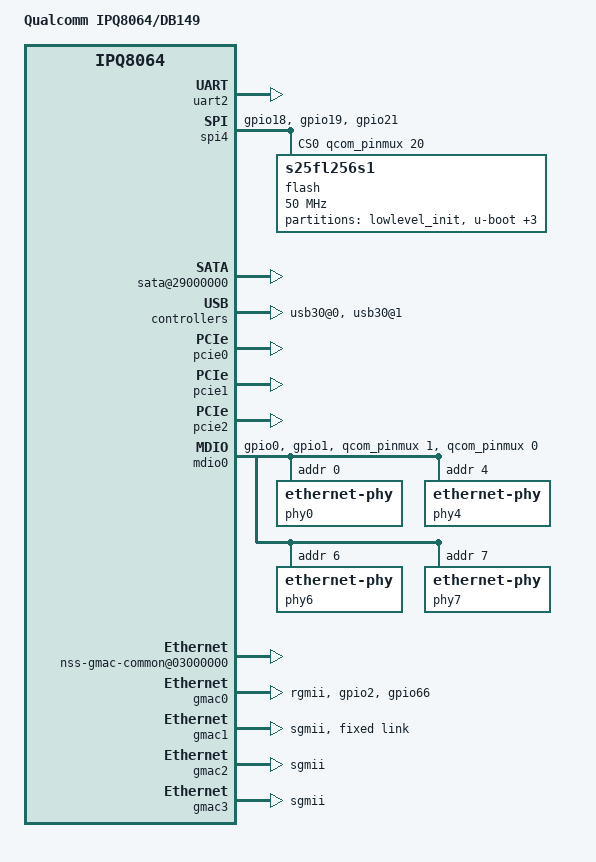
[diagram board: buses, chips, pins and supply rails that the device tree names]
#include "qcom-ipq8064-v1.0.dtsi"

/ {
	model = "Qualcomm IPQ8064/DB149";
	compatible = "qcom,ipq8064-db149", "qcom,ipq8064";

	reserved-memory {
		#address-cells = <1>;
		#size-cells = <1>;
		ranges;
		rsvd@41200000 {
			reg = <0x41200000 0x300000>;
			no-map;
		};
	};

	alias {
		serial0 = &uart2;
		mdio-gpio0 = &mdio0;
	};

	chosen {
		linux,stdout-path = "serial0:115200n8";
	};

	soc {
		pinmux@800000 {
			i2c4_pins: i2c4_pinmux {
				pins = "gpio12", "gpio13";
				function = "gsbi4";
				bias-disable;
			};

			spi_pins: spi_pins {
				mux {
					pins = "gpio18", "gpio19", "gpio21";
					function = "gsbi5";
					drive-strength = <10>;
					bias-none;
				};
			};

			mdio0_pins: mdio0_pins {
				mux {
					pins = "gpio0", "gpio1";
					function = "gpio";
					drive-strength = <8>;
					bias-disable;
				};
			};

			rgmii0_pins: rgmii0_pins {
				mux {
					pins = "gpio2", "gpio66";
					drive-strength = <8>;
					bias-disable;
				};
			};
		};

		gsbi2: gsbi@12480000 {
			qcom,mode = <GSBI_PROT_I2C_UART>;
			status = "ok";
			uart2: serial@12490000 {
				status = "ok";
			};
		};

		gsbi5: gsbi@1a200000 {
			qcom,mode = <GSBI_PROT_SPI>;
			status = "ok";

			spi4: spi@1a280000 {
				status = "ok";
				spi-max-frequency = <50000000>;

				pinctrl-0 = <&spi_pins>;
				pinctrl-names = "default";

				cs-gpios = <&qcom_pinmux 20 0>;

				flash: m25p80@0 {
					compatible = "s25fl256s1";
					#address-cells = <1>;
					#size-cells = <1>;
					spi-max-frequency = <50000000>;
					reg = <0>;
					m25p,fast-read;

					partition@0 {
						label = "lowlevel_init";
						reg = <0x0 0x1b0000>;
					};

					partition@1 {
						label = "u-boot";
						reg = <0x1b0000 0x80000>;
					};

					partition@2 {
						label = "u-boot-env";
						reg = <0x230000 0x40000>;
					};

					partition@3 {
						label = "caldata";
						reg = <0x270000 0x40000>;
					};

					partition@4 {
						label = "firmware";
						reg = <0x2b0000 0x1d50000>;
					};
				};
			};
		};

		sata-phy@1b400000 {
			status = "ok";
		};

		sata@29000000 {
			status = "ok";
		};

		phy@100f8800 {		/* USB3 port 1 HS phy */
			status = "ok";
		};

		phy@100f8830 {		/* USB3 port 1 SS phy */
			status = "ok";
		};

		phy@110f8800 {		/* USB3 port 0 HS phy */
			status = "ok";
		};

		phy@110f8830 {		/* USB3 port 0 SS phy */
			status = "ok";
		};

		usb30@0 {
			status = "ok";
		};

		usb30@1 {
			status = "ok";
		};

		pcie0: pci@1b500000 {
			status = "ok";
		};

		pcie1: pci@1b700000 {
			status = "ok";
		};

		pcie2: pci@1b900000 {
			status = "ok";
		};

		mdio0: mdio {
			compatible = "virtual,mdio-gpio";
			#address-cells = <1>;
			#size-cells = <0>;
			gpios = <&qcom_pinmux 1 0 &qcom_pinmux 0 0>;

			pinctrl-0 = <&mdio0_pins>;
			pinctrl-names = "default";

			phy0: ethernet-phy@0 {
				device_type = "ethernet-phy";
				reg = <0>;
				qca,ar8327-initvals = <
					0x00004 0x7600000   /* PAD0_MODE */
					0x00008 0x1000000   /* PAD5_MODE */
					0x0000c 0x80        /* PAD6_MODE */
					0x000e4 0xaa545     /* MAC_POWER_SEL */
					0x000e0 0xc74164de  /* SGMII_CTRL */
					0x0007c 0x4e        /* PORT0_STATUS */
					0x00094 0x4e        /* PORT6_STATUS */
				>;
			};

			phy4: ethernet-phy@4 {
				device_type = "ethernet-phy";
				reg = <4>;
			};

			phy6: ethernet-phy@6 {
				device_type = "ethernet-phy";
				reg = <6>;
			};

			phy7: ethernet-phy@7 {
				device_type = "ethernet-phy";
				reg = <7>;
			};
		};

		nss0: nss@40000000 {
			compatible = "qcom,nss";
			interrupts = <GIC_SPI 213 IRQ_TYPE_LEVEL_HIGH
				      GIC_SPI 232 IRQ_TYPE_LEVEL_HIGH>;
			reg = <0x36000000 0x1000 0x39000000 0x10000>;
			reg-names = "nphys", "vphys";
			clocks = <&gcc NSS_CORE_CLK>, <&gcc NSSTCM_CLK_SRC>,
				 <&gcc NSSTCM_CLK>, <&nss_fabric0_clk>,
				 <&nss_fabric1_clk>;
			clock-names = "nss-core-clk", "nss-tcm-src",
				      "nss-tcm-clk", "nss-fab0-clk",
				      "nss-fab1-clk";
			resets = <&gcc UBI32_CORE1_CLKRST_CLAMP_RESET>,
				 <&gcc UBI32_CORE1_CLAMP_RESET>,
				 <&gcc UBI32_CORE1_AHB_RESET>,
				 <&gcc UBI32_CORE1_AXI_RESET>;
			reset-names = "clkrst-clamp", "clamp", "ahb", "axi";
			qcom,id = <0>;
			qcom,num-irq = <2>;
			qcom,num-queue = <2>;
			qcom,load-addr = <0x40000000>;

			qcom,turbo-frequency;
			qcom,ipv4-enabled;
			qcom,ipv6-enabled;
			qcom,wlanredirect-enabled;
			qcom,tun6rd-enabled;
			qcom,l2tpv2-enabled;
			qcom,portid-enabled;
			qcom,pptp-enabled;
			qcom,tunipip6-enabled;
			qcom,shaping-enabled;
			qcom,wlan-dataplane-offload-enabled;
		};

		nss1: nss@40800000 {
			compatible = "qcom,nss";
			interrupts = <GIC_SPI 214 IRQ_TYPE_LEVEL_HIGH
				      GIC_SPI 233 IRQ_TYPE_LEVEL_HIGH>;
			reg = <0x36400000 0x1000 0x39010000 0x10000>;
			reg-names = "nphys", "vphys";
			resets = <&gcc UBI32_CORE2_CLKRST_CLAMP_RESET>,
				 <&gcc UBI32_CORE2_CLAMP_RESET>,
				 <&gcc UBI32_CORE2_AHB_RESET>,
				 <&gcc UBI32_CORE2_AXI_RESET>;
			reset-names = "clkrst-clamp", "clamp", "ahb", "axi";
			qcom,id = <1>;
			qcom,num-irq = <2>;
			qcom,num-queue = <2>;
			qcom,load-addr = <0x40800000>;

			qcom,turbo-frequency;
			qcom,crypto-enabled;
			qcom,ipsec-enabled;
		};

		nss-gmac-common@03000000 {
			compatible = "qcom,nss-gmac-common";
			reg = <0x03000000 0x0000FFFF 0x1bb00000
			       0x0000FFFF 0x00900000 0x00004000>;
			reg-names = "nss_reg_base" , "qsgmii_reg_base",
				    "clk_ctl_base";
		};


		gmac0: ethernet@37000000 {
			status = "ok";
			device_type = "network";
			compatible = "qcom,nss-gmac";
			reg = <0x37000000 0x200000>;
			interrupts = <GIC_SPI 220 IRQ_TYPE_LEVEL_HIGH>;
			phy-mode = "rgmii";
			qcom,id = <0>;
			qcom,pcs-chanid = <0>;
			qcom,phy-mdio-addr = <4>;
			qcom,poll-required = <1>;
			qcom,rgmii-delay = <1>;
			qcom,emulation = <0>;
			qcom,forced-speed = <1000>;
			qcom,forced-duplex = <1>;
			qcom,mmds-mask = <0>;
			qcom,socver = <0>;
			local-mac-address = [000000000000];
			mdiobus = <&mdio0>;

			pinctrl-0 = <&rgmii0_pins>;
			pinctrl-names = "default";
		};

		gmac1: ethernet@37200000 {
			status = "ok";
			device_type = "network";
			compatible = "qcom,nss-gmac";
			reg = <0x37200000 0x200000>;
			interrupts = <GIC_SPI 223 IRQ_TYPE_LEVEL_HIGH>;
			phy-mode = "sgmii";
			qcom,id = <1>;
			qcom,pcs-chanid = <1>;
			qcom,phy-mdio-addr = <0>;
			qcom,poll-required = <0>;
			qcom,rgmii-delay = <0>;
			qcom,emulation = <0>;
			qcom,forced-speed = <1000>;
			qcom,forced-duplex = <1>;
			qcom,mmds-mask = <0>;
			qcom,socver = <0>;
			local-mac-address = [000000000000];
			mdiobus = <&mdio0>;

			fixed-link {
				speed = <1000>;
				full-duplex;
			};
		};

		gmac2: ethernet@37400000 {
			status = "ok";
			device_type = "network";
			compatible = "qcom,nss-gmac";
			reg = <0x37400000 0x200000>;
			interrupts = <GIC_SPI 226 IRQ_TYPE_LEVEL_HIGH>;
			phy-mode = "sgmii";
			qcom,id = <2>;
			qcom,pcs-chanid = <2>;
			qcom,phy-mdio-addr = <6>;
			qcom,poll-required = <1>;
			qcom,rgmii-delay = <0>;
			qcom,emulation = <0>;
			qcom,forced-speed = <0>;
			qcom,forced-duplex = <0xFF>;
			qcom,mmds-mask = <0>;
			qcom,socver = <0>;
			local-mac-address = [000000000000];
			mdiobus = <&mdio0>;
		};

		gmac3: ethernet@37600000 {
			status = "ok";
			device_type = "network";
			compatible = "qcom,nss-gmac";
			reg = <0x37600000 0x200000>;
			interrupts = <GIC_SPI 229 IRQ_TYPE_LEVEL_HIGH>;
			phy-mode = "sgmii";
			qcom,id = <3>;
			qcom,pcs-chanid = <3>;
			qcom,phy-mdio-addr = <7>;
			qcom,poll-required = <1>;
			qcom,rgmii-delay = <0>;
			qcom,emulation = <0>;
			qcom,forced-speed = <0>;
			qcom,forced-duplex = <0xFF>;
			qcom,mmds-mask = <0>;
			qcom,socver = <0>;
			local-mac-address = [000000000000];
			mdiobus = <&mdio0>;
		};
	};
};
